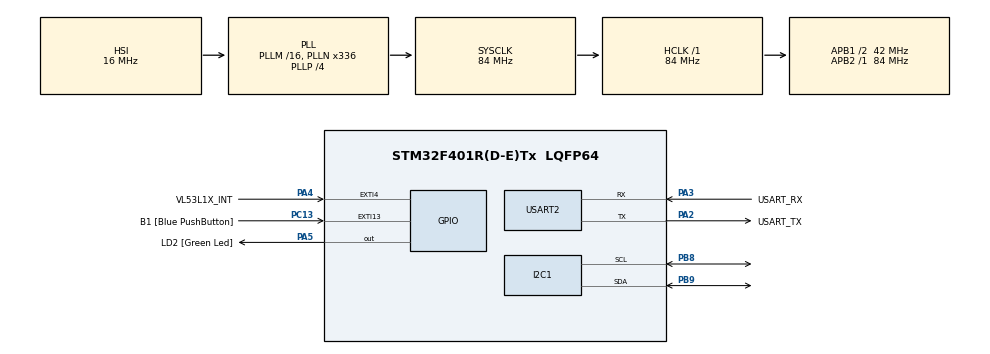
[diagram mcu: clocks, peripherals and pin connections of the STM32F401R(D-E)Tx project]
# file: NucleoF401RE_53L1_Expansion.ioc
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Mcu.Family=STM32F4
Mcu.Name=STM32F401R(D-E)Tx
Mcu.Package=LQFP64
NVIC.EXTI4_IRQn=true\:0\:0\:false\:false\:true
NVIC.PriorityGroup=NVIC_PRIORITYGROUP_0
PA13.GPIO_Label=TMS
PA13.Signal=SYS_JTMS-SWDIO
PA14.GPIO_Label=TCK
PA14.Signal=SYS_JTCK-SWCLK
PA2.GPIO_Label=USART_TX
PA2.GPIO_Mode=GPIO_MODE_AF_PP
PA2.GPIO_PuPd=GPIO_NOPULL
PA2.GPIO_Speed=GPIO_SPEED_FREQ_LOW
PA2.Mode=Asynchronous
PA2.Signal=USART2_TX
PA3.GPIO_Label=USART_RX
PA3.GPIO_Mode=GPIO_MODE_AF_PP
PA3.GPIO_PuPd=GPIO_NOPULL
PA3.GPIO_Speed=GPIO_SPEED_FREQ_LOW
PA3.Mode=Asynchronous
PA3.Signal=USART2_RX
PA4.GPIO_Label=VL53L1X_INT
PA4.GPIO_ModeDefaultEXTI=GPIO_MODE_IT_FALLING
PA4.GPIO_PuPd=GPIO_PULLUP
PA4.Signal=GPXTI4
PA5.GPIO_Label=LD2 [Green Led]
PA5.GPIO_Mode=GPIO_MODE_OUTPUT_PP
PA5.GPIO_PuPd=GPIO_NOPULL
PA5.GPIO_Speed=GPIO_SPEED_FREQ_LOW
PA5.Signal=GPIO_Output
PB3.GPIO_Label=SWO
PB3.Signal=SYS_JTDO-SWO
PB8.Mode=I2C
PB8.Signal=I2C1_SCL
PB9.Mode=I2C
PB9.Signal=I2C1_SDA
PC13-ANTI_TAMP.GPIO_Label=B1 [Blue PushButton]
PC13-ANTI_TAMP.GPIO_ModeDefaultEXTI=GPIO_MODE_IT_FALLING
PC13-ANTI_TAMP.GPIO_PuPd=GPIO_NOPULL
PC13-ANTI_TAMP.Signal=GPXTI13
PC14-OSC32_IN.Signal=RCC_OSC32_IN
PC15-OSC32_OUT.Signal=RCC_OSC32_OUT
PH0\ -\ OSC_IN.Signal=RCC_OSC_IN
PH1\ -\ OSC_OUT.Signal=RCC_OSC_OUT
ProjectManager.HeapSize=0x200
ProjectManager.StackSize=0x400
ProjectManager.TargetToolchain=SW4STM32
RCC.AHBFreq_Value=84000000
RCC.APB1CLKDivider=RCC_HCLK_DIV2
RCC.APB1Freq_Value=42000000
RCC.APB1TimFreq_Value=84000000
RCC.APB2Freq_Value=84000000
RCC.APB2TimFreq_Value=84000000
RCC.CortexFreq_Value=84000000
RCC.HCLKFreq_Value=84000000
RCC.HSE_VALUE=8000000
RCC.HSI_VALUE=16000000
RCC.LSE_VALUE=32768
RCC.PLLN=336
RCC.PLLP=RCC_PLLP_DIV4
RCC.PLLQ=7
RCC.SYSCLKFreq_VALUE=84000000
RCC.SYSCLKSource=RCC_SYSCLKSOURCE_PLLCLK
RCC.VCOOutputFreq_Value=336000000
USART2.VirtualMode=VM_ASYNC
board=NUCLEO-F401RE

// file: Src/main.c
/**
  ******************************************************************************
  * File Name          : main.c
  * Description        : Main program body
  ******************************************************************************
  *
  * COPYRIGHT(c) 2017 STMicroelectronics
  *
  * Redistribution and use in source and binary forms, with or without modification,
  * are permitted provided that the following conditions are met:
  *   1. Redistributions of source code must retain the above copyright notice,
  *      this list of conditions and the following disclaimer.
  *   2. Redistributions in binary form must reproduce the above copyright notice,
  *      this list of conditions and the following disclaimer in the documentation
  *      and/or other materials provided with the distribution.
  *   3. Neither the name of STMicroelectronics nor the names of its contributors
  *      may be used to endorse or promote products derived from this software
  *      without specific prior written permission.
  *
  * THIS SOFTWARE IS PROVIDED BY THE COPYRIGHT HOLDERS AND CONTRIBUTORS "AS IS"
  * AND ANY EXPRESS OR IMPLIED WARRANTIES, INCLUDING, BUT NOT LIMITED TO, THE
  * IMPLIED WARRANTIES OF MERCHANTABILITY AND FITNESS FOR A PARTICULAR PURPOSE ARE
  * DISCLAIMED. IN NO EVENT SHALL THE COPYRIGHT HOLDER OR CONTRIBUTORS BE LIABLE
  * FOR ANY DIRECT, INDIRECT, INCIDENTAL, SPECIAL, EXEMPLARY, OR CONSEQUENTIAL
  * DAMAGES (INCLUDING, BUT NOT LIMITED TO, PROCUREMENT OF SUBSTITUTE GOODS OR
  * SERVICES; LOSS OF USE, DATA, OR PROFITS; OR BUSINESS INTERRUPTION) HOWEVER
  * CAUSED AND ON ANY THEORY OF LIABILITY, WHETHER IN CONTRACT, STRICT LIABILITY,
  * OR TORT (INCLUDING NEGLIGENCE OR OTHERWISE) ARISING IN ANY WAY OUT OF THE USE
  * OF THIS SOFTWARE, EVEN IF ADVISED OF THE POSSIBILITY OF SUCH DAMAGE.
  *
  ******************************************************************************
  */

#include "stm32xxx_hal.h"

/* USER CODE BEGIN Includes */
#include "main.h"
#include "VL53L1X_API.h"
#include "VL53l1X_calibration.h"
#include "X-NUCLEO-53L1A1.h"
/* USER CODE END Includes */
/* USER CODE BEGIN PV */
/* Private variables ---------------------------------------------------------*/
I2C_HandleTypeDef hi2c1;
UART_HandleTypeDef huart2;
uint16_t	dev=0x52;
int status=0;
volatile int IntCount;
#define isInterrupt 1 /* If isInterrupt = 1 then device working in interrupt mode, else device working in polling mode */
/* USER CODE END PV */

/* USER CODE BEGIN PFP */
/* Private function prototypes -----------------------------------------------*/
void SystemClock_Config(void);
void Error_Handler(void);
static void MX_GPIO_Init(void);
static void MX_USART2_UART_Init(void);
static void MX_I2C1_Init(void);
/* USER CODE END PFP */

/* USER CODE BEGIN 0 */
#define PUTCHAR_PROTOTYPE int fputc(int ch, FILE *f)

PUTCHAR_PROTOTYPE
{
	HAL_UART_Transmit(&huart2, (uint8_t*)&ch, 1, 0xFFFF);
  return ch;
}

void HAL_GPIO_EXTI_Callback(uint16_t GPIO_Pin)
{
		if (GPIO_Pin==VL53L1X_INT_Pin)
		{
			IntCount++;
		}
}

/* USER CODE END 0 */

int main(void)
{

  uint8_t byteData, sensorState=0;
  uint16_t wordData;
  uint8_t ToFSensor = 1; // 0=Left, 1=Center(default), 2=Right
  uint16_t Distance;
  uint16_t SignalRate;
  uint16_t AmbientRate;
  uint16_t SpadNum;
  uint8_t RangeStatus;
  uint8_t dataReady;
//	int16_t offset;
//	uint16_t xtalk;
  /* MCU Configuration----------------------------------------------------------*/

  /* Reset of all peripherals, Initializes the Flash interface and the Systick. */
  HAL_Init();

  /* Configure the system clock */
  SystemClock_Config();

  /* Initialize all configured peripherals */
  MX_GPIO_Init();
  MX_USART2_UART_Init();
  MX_I2C1_Init();
  XNUCLEO53L1A1_Init();

  ToFSensor = 1; // Select ToFSensor: 0=Left, 1=Center, 2=Right
  status = XNUCLEO53L1A1_ResetId(ToFSensor, 0); // Reset ToF sensor
  HAL_Delay(2);
  status = XNUCLEO53L1A1_ResetId(ToFSensor, 1); // Reset ToF sensor
  HAL_Delay(2);

/* Those basic I2C read functions can be used to check your own I2C functions */
  status = VL53L1_RdByte(dev, 0x010F, &byteData);
  printf("VL53L1X Model_ID: %X\n", byteData);
  status = VL53L1_RdByte(dev, 0x0110, &byteData);
  printf("VL53L1X Module_Type: %X\n", byteData);
  status = VL53L1_RdWord(dev, 0x010F, &wordData);
  printf("VL53L1X: %X\n", wordData);
  while(sensorState==0){
		status = VL53L1X_BootState(dev, &sensorState);
	HAL_Delay(2);
  }
  printf("Chip booted\n");

  /* This function must to be called to initialize the sensor with the default setting  */
  status = VL53L1X_SensorInit(dev);
  /* Optional functions to be used to change the main ranging parameters according the application requirements to get the best ranging performances */
  status = VL53L1X_SetDistanceMode(dev, 2); /* 1=short, 2=long */
  status = VL53L1X_SetTimingBudgetInMs(dev, 100); /* in ms possible values [20, 50, 100, 200, 500] */
  status = VL53L1X_SetInterMeasurementInMs(dev, 100); /* in ms, IM must be > = TB */
//  status = VL53L1X_SetOffset(dev,20); /* offset compensation in mm */
//  status = VL53L1X_SetROI(dev, 16, 16); /* minimum ROI 4,4 */
//	status = VL53L1X_CalibrateOffset(dev, 140, &offset); /* may take few second to perform the offset cal*/
//	status = VL53L1X_CalibrateXtalk(dev, 1000, &xtalk); /* may take few second to perform the xtalk cal */
  printf("VL53L1X Ultra Lite Driver Example running ...\n");
  status = VL53L1X_StartRanging(dev);   /* This function has to be called to enable the ranging */
  while(1){ /* read and display data */
	  while (dataReady == 0){
		  status = VL53L1X_CheckForDataReady(dev, &dataReady);
		  HAL_Delay(2);
	  }
	  dataReady = 0;
	  status = VL53L1X_GetRangeStatus(dev, &RangeStatus);
	  status = VL53L1X_GetDistance(dev, &Distance);
	  status = VL53L1X_GetSignalRate(dev, &SignalRate);
	  status = VL53L1X_GetAmbientRate(dev, &AmbientRate);
	  status = VL53L1X_GetSpadNb(dev, &SpadNum);
	  status = VL53L1X_ClearInterrupt(dev); /* clear interrupt has to be called to enable next interrupt*/
	  printf("%u, %u, %u, %u, %u\n", RangeStatus, Distance, SignalRate, AmbientRate,SpadNum);
  }
}
/** System Clock Configuration
*/
#ifdef STM32F401xE

void SystemClock_Config(void)
{

  RCC_OscInitTypeDef RCC_OscInitStruct;
  RCC_ClkInitTypeDef RCC_ClkInitStruct;

    /**Configure the main internal regulator output voltage
    */
  __HAL_RCC_PWR_CLK_ENABLE();

  __HAL_PWR_VOLTAGESCALING_CONFIG(PWR_REGULATOR_VOLTAGE_SCALE2);

    /**Initializes the CPU, AHB and APB busses clocks
    */
  RCC_OscInitStruct.OscillatorType = RCC_OSCILLATORTYPE_HSI;
  RCC_OscInitStruct.HSIState = RCC_HSI_ON;
  RCC_OscInitStruct.HSICalibrationValue = 16;
  RCC_OscInitStruct.PLL.PLLState = RCC_PLL_ON;
  RCC_OscInitStruct.PLL.PLLSource = RCC_PLLSOURCE_HSI;
  RCC_OscInitStruct.PLL.PLLM = 16;
  RCC_OscInitStruct.PLL.PLLN = 336;
  RCC_OscInitStruct.PLL.PLLP = RCC_PLLP_DIV4;
  RCC_OscInitStruct.PLL.PLLQ = 7;
  if (HAL_RCC_OscConfig(&RCC_OscInitStruct) != HAL_OK)
  {
    Error_Handler();
  }

    /**Initializes the CPU, AHB and APB busses clocks
    */
  RCC_ClkInitStruct.ClockType = RCC_CLOCKTYPE_HCLK|RCC_CLOCKTYPE_SYSCLK
                              |RCC_CLOCKTYPE_PCLK1|RCC_CLOCKTYPE_PCLK2;
  RCC_ClkInitStruct.SYSCLKSource = RCC_SYSCLKSOURCE_PLLCLK;
  RCC_ClkInitStruct.AHBCLKDivider = RCC_SYSCLK_DIV1;
  RCC_ClkInitStruct.APB1CLKDivider = RCC_HCLK_DIV2;
  RCC_ClkInitStruct.APB2CLKDivider = RCC_HCLK_DIV1;

  if (HAL_RCC_ClockConfig(&RCC_ClkInitStruct, FLASH_LATENCY_2) != HAL_OK)
  {
    Error_Handler();
  }

    /**Configure the Systick interrupt time
    */
  HAL_SYSTICK_Config(HAL_RCC_GetHCLKFreq()/1000);

    /**Configure the Systick
    */
  HAL_SYSTICK_CLKSourceConfig(SYSTICK_CLKSOURCE_HCLK);

  /* SysTick_IRQn interrupt configuration */
  HAL_NVIC_SetPriority(SysTick_IRQn, 0, 0);
}
#endif

#ifdef STM32L476xx
void SystemClock_Config(void)
{

  RCC_OscInitTypeDef RCC_OscInitStruct;
  RCC_ClkInitTypeDef RCC_ClkInitStruct;
  RCC_PeriphCLKInitTypeDef PeriphClkInit;

    /**Initializes the CPU, AHB and APB busses clocks
    */
  RCC_OscInitStruct.OscillatorType = RCC_OSCILLATORTYPE_HSI;
  RCC_OscInitStruct.HSIState = RCC_HSI_ON;
  RCC_OscInitStruct.HSICalibrationValue = 16;
  RCC_OscInitStruct.PLL.PLLState = RCC_PLL_ON;
  RCC_OscInitStruct.PLL.PLLSource = RCC_PLLSOURCE_HSI;
  RCC_OscInitStruct.PLL.PLLM = 1;
  RCC_OscInitStruct.PLL.PLLN = 10;
  RCC_OscInitStruct.PLL.PLLP = RCC_PLLP_DIV7;
  RCC_OscInitStruct.PLL.PLLQ = RCC_PLLQ_DIV2;
  RCC_OscInitStruct.PLL.PLLR = RCC_PLLR_DIV2;
  if (HAL_RCC_OscConfig(&RCC_OscInitStruct) != HAL_OK)
  {
    Error_Handler();
  }

    /**Initializes the CPU, AHB and APB busses clocks
    */
  RCC_ClkInitStruct.ClockType = RCC_CLOCKTYPE_HCLK|RCC_CLOCKTYPE_SYSCLK
                              |RCC_CLOCKTYPE_PCLK1|RCC_CLOCKTYPE_PCLK2;
  RCC_ClkInitStruct.SYSCLKSource = RCC_SYSCLKSOURCE_PLLCLK;
  RCC_ClkInitStruct.AHBCLKDivider = RCC_SYSCLK_DIV1;
  RCC_ClkInitStruct.APB1CLKDivider = RCC_HCLK_DIV1;
  RCC_ClkInitStruct.APB2CLKDivider = RCC_HCLK_DIV1;

  if (HAL_RCC_ClockConfig(&RCC_ClkInitStruct, FLASH_LATENCY_4) != HAL_OK)
  {
    Error_Handler();
  }

  PeriphClkInit.PeriphClockSelection = RCC_PERIPHCLK_USART2|RCC_PERIPHCLK_I2C1;
  PeriphClkInit.Usart2ClockSelection = RCC_USART2CLKSOURCE_PCLK1;
  PeriphClkInit.I2c1ClockSelection = RCC_I2C1CLKSOURCE_PCLK1;
  if (HAL_RCCEx_PeriphCLKConfig(&PeriphClkInit) != HAL_OK)
  {
    Error_Handler();
  }

    /**Configure the main internal regulator output voltage
    */
  if (HAL_PWREx_ControlVoltageScaling(PWR_REGULATOR_VOLTAGE_SCALE1) != HAL_OK)
  {
    Error_Handler();
  }

    /**Configure the Systick interrupt time
    */
  HAL_SYSTICK_Config(HAL_RCC_GetHCLKFreq()/1000);

    /**Configure the Systick
    */
  HAL_SYSTICK_CLKSourceConfig(SYSTICK_CLKSOURCE_HCLK);

  /* SysTick_IRQn interrupt configuration */
  HAL_NVIC_SetPriority(SysTick_IRQn, 0, 0);
}
#endif
#ifdef STM32F401xE

/* I2C1 init function */
static void MX_I2C1_Init(void)
{

  hi2c1.Instance = I2C1;
  hi2c1.Init.ClockSpeed = 100000;
  hi2c1.Init.DutyCycle = I2C_DUTYCYCLE_2;
  hi2c1.Init.OwnAddress1 = 0;
  hi2c1.Init.AddressingMode = I2C_ADDRESSINGMODE_7BIT;
  hi2c1.Init.DualAddressMode = I2C_DUALADDRESS_DISABLE;
  hi2c1.Init.OwnAddress2 = 0;
  hi2c1.Init.GeneralCallMode = I2C_GENERALCALL_DISABLE;
  hi2c1.Init.NoStretchMode = I2C_NOSTRETCH_DISABLE;
  if (HAL_I2C_Init(&hi2c1) != HAL_OK)
  {
    Error_Handler();
  }

}
#endif
#ifdef STM32L476xx
/* I2C1 init function */
static void MX_I2C1_Init(void)
{

  hi2c1.Instance = I2C1;
  hi2c1.Init.Timing = 0x10909CEC;
  hi2c1.Init.OwnAddress1 = 0;
  hi2c1.Init.AddressingMode = I2C_ADDRESSINGMODE_7BIT;
  hi2c1.Init.DualAddressMode = I2C_DUALADDRESS_DISABLE;
  hi2c1.Init.OwnAddress2 = 0;
  hi2c1.Init.OwnAddress2Masks = I2C_OA2_NOMASK;
  hi2c1.Init.GeneralCallMode = I2C_GENERALCALL_DISABLE;
  hi2c1.Init.NoStretchMode = I2C_NOSTRETCH_DISABLE;
  if (HAL_I2C_Init(&hi2c1) != HAL_OK)
  {
    Error_Handler();
  }

    /**Configure Analogue filter
    */
  if (HAL_I2CEx_ConfigAnalogFilter(&hi2c1, I2C_ANALOGFILTER_ENABLE) != HAL_OK)
  {
    Error_Handler();
  }

    /**Configure Digital filter
    */
  if (HAL_I2CEx_ConfigDigitalFilter(&hi2c1, 0) != HAL_OK)
  {
    Error_Handler();
  }

}
#endif
/* USART2 init function */
static void MX_USART2_UART_Init(void)
{

  huart2.Instance = USART2;
  huart2.Init.BaudRate = 115200;
  huart2.Init.WordLength = UART_WORDLENGTH_8B;
  huart2.Init.StopBits = UART_STOPBITS_1;
  huart2.Init.Parity = UART_PARITY_NONE;
  huart2.Init.Mode = UART_MODE_TX_RX;
  huart2.Init.HwFlowCtl = UART_HWCONTROL_NONE;
  huart2.Init.OverSampling = UART_OVERSAMPLING_16;
  if (HAL_UART_Init(&huart2) != HAL_OK)
  {
    Error_Handler();
  }

}

/** Configure pins as
        * Analog
        * Input
        * Output
        * EVENT_OUT
        * EXTI
*/
static void MX_GPIO_Init(void)
{

  GPIO_InitTypeDef GPIO_InitStruct;

  /* GPIO Ports Clock Enable */
  __HAL_RCC_GPIOC_CLK_ENABLE();
  __HAL_RCC_GPIOH_CLK_ENABLE();
  __HAL_RCC_GPIOA_CLK_ENABLE();
  __HAL_RCC_GPIOB_CLK_ENABLE();

  /*Configure GPIO pin Output Level */
  HAL_GPIO_WritePin(LD2_GPIO_Port, LD2_Pin, GPIO_PIN_RESET);

  /*Configure GPIO pin : B1_Pin */
  GPIO_InitStruct.Pin = B1_Pin;
  GPIO_InitStruct.Mode = GPIO_MODE_IT_FALLING;
  GPIO_InitStruct.Pull = GPIO_NOPULL;
  HAL_GPIO_Init(B1_GPIO_Port, &GPIO_InitStruct);

  /*Configure GPIO pin : VL53L1X_INT_Pin */
  GPIO_InitStruct.Pin = VL53L1X_INT_Pin;
  GPIO_InitStruct.Mode = GPIO_MODE_IT_FALLING;
  GPIO_InitStruct.Pull = GPIO_PULLUP;
  HAL_GPIO_Init(VL53L1X_INT_GPIO_Port, &GPIO_InitStruct);

  /*Configure GPIO pin : LD2_Pin */
  GPIO_InitStruct.Pin = LD2_Pin;
  GPIO_InitStruct.Mode = GPIO_MODE_OUTPUT_PP;
  GPIO_InitStruct.Pull = GPIO_NOPULL;
  GPIO_InitStruct.Speed = GPIO_SPEED_FREQ_LOW;
  HAL_GPIO_Init(LD2_GPIO_Port, &GPIO_InitStruct);

  /* EXTI interrupt init*/
  HAL_NVIC_SetPriority(EXTI4_IRQn, 0, 0);
  HAL_NVIC_EnableIRQ(EXTI4_IRQn);

}

/* USER CODE BEGIN 4 */

/* Autonomous ranging loop*/
void AutonomousLowPowerRangingTest(void)
{
}

/* USER CODE END 4 */

void Error_Handler(void)
{
  while(1)
  {
  }
}

/************************ (C) COPYRIGHT STMicroelectronics *****END OF FILE****/
